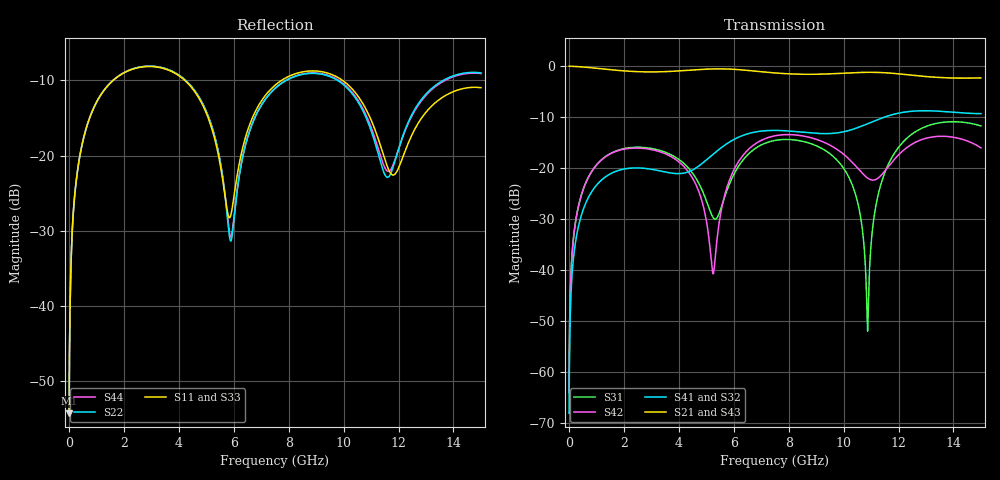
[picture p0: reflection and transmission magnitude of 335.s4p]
! Created with skrf 1.8.0 (http://scikit-rf.org).
# GHz S RI R 50.0
!freq ReS11 ImS11 ReS12 ImS12 ReS13 ImS13
! ReS14 ImS14
! ReS21 ImS21 ReS22 ImS22 ReS23 ImS23
! ReS24 ImS24
! ReS31 ImS31 ReS32 ImS32 ReS33 ImS33
! ReS34 ImS34
! ReS41 ImS41 ReS42 ImS42 ReS43 ImS43
! ReS44 ImS44
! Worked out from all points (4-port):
!   2499 points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, 5 MHz to 15 GHz, reference 50 ohm
!   strongest paths, dB at 5 MHz, 3.476 GHz, 7.19 GHz, 11.1 GHz, 15 GHz:
!     S21: 0.0, -1.1, -1.2, -1.2, -2.3
!     S43: 0.0, -1.1, -1.2, -1.2, -2.3
!     S41: -68.1, -20.7, -12.7, -10.8, -9.3
!     S32: -68.1, -20.8, -12.7, -10.8, -9.4
!     S42: -64.0, -17.1, -14.1, -22.3, -16.0
!     S31: -64.0, -16.8, -15.0, -30.0, -11.7
!   lowest |S11| = -54.3 dB at 5 MHz (marker M1), VSWR 1.00, Z = 50.2 + j0.116 ohm
!   |S11| at or under -10 dB: start of sweep to 1.607 GHz; 4.219 GHz to 7.74 GHz (3.52 GHz wide, 58.9 % of centre); 9.962 GHz to end of sweep
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0.005  0.00153 0.00116  0.9984 -0.00298  7.72e-05 0.000624  -7.48e-05 -0.000388
       0.9984 -0.00298  0.00153 0.00116  -7.48e-05 -0.000388  7.71e-05 0.000624
       7.72e-05 0.000624  -7.48e-05 -0.000388  0.00153 0.00116  0.9984 -0.00298
       -7.48e-05 -0.000388  7.71e-05 0.000624  0.9984 -0.00298  0.00153 0.00116
1.519383  0.2417 0.1868  0.6064 -0.6937  0.1222 0.0678  -0.0869 -0.0155
          0.6064 -0.6937  0.2432 0.186  -0.0868 -0.0156  0.1179 0.0728
          0.1222 0.0678  -0.0868 -0.0156  0.2419 0.1868  0.6063 -0.6937
          -0.0869 -0.0155  0.1179 0.0728  0.6063 -0.6937  0.2431 0.186
5.914965  0.0399 0.012  -0.9326 -0.0338  -0.0146 0.0759  0.000412 0.185
          -0.9326 -0.0338  0.0273 0.00297  -0.00266 0.1851  0.0297 0.0797
          -0.0146 0.0759  -0.00266 0.1851  0.038 0.0121  -0.9326 -0.0334
          0.000412 0.185  0.0297 0.0797  -0.9326 -0.0334  0.0291 0.00261
9.597749  0.3257 -0.1121  0.204 0.8166  0.1083 -0.0753  0.1917 -0.1062
          0.204 0.8166  0.3148 -0.0979  0.1933 -0.0997  0.0951 -0.1319
          0.1083 -0.0753  0.1933 -0.0997  0.3301 -0.1143  0.2042 0.815
          0.1917 -0.1062  0.0951 -0.1319  0.2042 0.815  0.3182 -0.098
10.87328  0.1345 -0.1399  0.6938 0.5234  0.00245 0.000617  0.1538 -0.2251
          0.6938 0.5234  0.1241 -0.1151  0.1613 -0.2194  -0.063 -0.0491
          0.00245 0.000617  0.1613 -0.2194  0.1359 -0.1462  0.6927 0.5228
          0.1538 -0.2251  -0.063 -0.0491  0.6927 0.5228  0.1308 -0.118
11.8862  0.0757 0.00193  0.8431 0.0648  0.066 0.1288  0.00756 -0.3401
         0.8431 0.0648  0.082 0.0456  0.0189 -0.3398  -0.0378 0.1193
         0.066 0.1288  0.0189 -0.3398  0.0726 -0.00321  0.8431 0.0649
         0.00756 -0.3401  -0.0378 0.1193  0.8431 0.0649  0.0876 0.0375
15  0.2825 -0.0132  0.0847 -0.7617  0.1892 -0.1772  -0.3392 0.0437
    0.0847 -0.7617  0.3493 -0.0621  -0.3382 0.0281  0.1537 -0.0365
    0.1892 -0.1772  -0.3382 0.0281  0.2841 -0.0168  0.081 -0.7624
    -0.3392 0.0437  0.1537 -0.0365  0.081 -0.7624  0.3452 -0.0654
